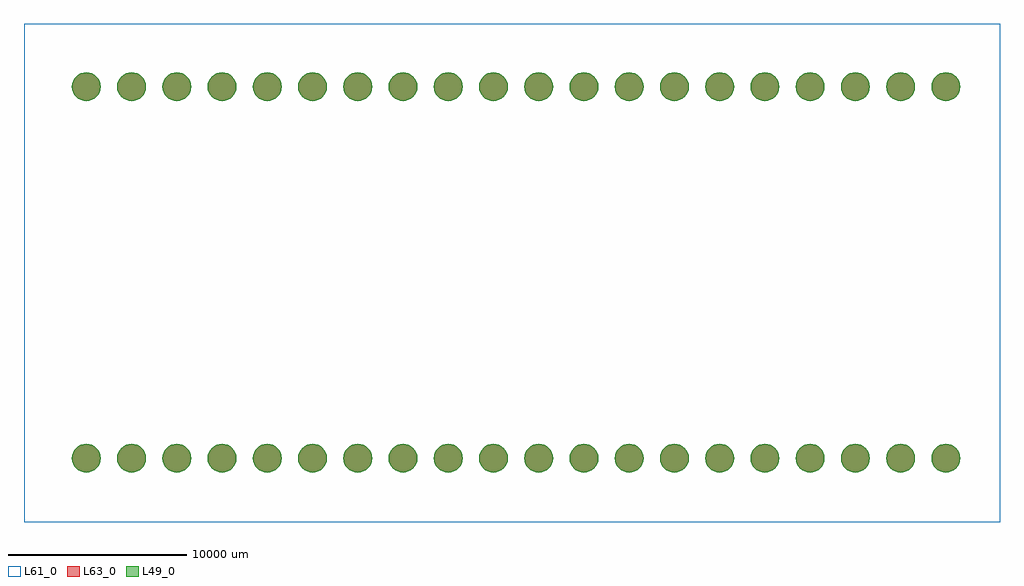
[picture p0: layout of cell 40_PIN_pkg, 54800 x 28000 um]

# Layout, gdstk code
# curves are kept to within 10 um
import gdstk
lib = gdstk.Library(unit=1e-6, precision=1e-09)
def R(c, l, rs):  # rectangles x0, y0, x1, y1
    for r in rs: c.add(gdstk.rectangle(r[:2], r[2:], *l))
def P(c, l, *ps):  # polygons
    for p in ps: c.add(gdstk.Polygon(p, *l))
L49_0 = (49, 0)
L61_0 = (61, 0)
L63_0 = (63, 0)

header_pin_round_1 = lib.new_cell('Header_Pin_Round_1')
P(header_pin_round_1, L49_0, [(806,0),(791,157),(745,308),(670,448),(570,570),(448,670),(308,745),(157,791),(0,806),(-157,791),(-308,745),(-448,670),(-570,570),(-670,448),(-745,308),(-791,157),(-806,0),(-791,-157),(-745,-308),(-670,-448),(-570,-570),(-448,-670),(-308,-745),(-157,-791),(0,-806),(157,-791),(308,-745),(448,-670),(570,-570),(670,-448),(745,-308),(791,-157)])
P(header_pin_round_1, L63_0, [(316,0),(292,121),(223,223),(121,292),(0,316),(-121,292),(-223,223),(-292,121),(-316,0),(-292,-121),(-223,-223),(-121,-292),(0,-316),(121,-292),(223,-223),(292,-121)],
  [(806,0),(791,157),(745,308),(670,448),(570,570),(448,670),(308,745),(157,791),(0,806),(-157,791),(-308,745),(-448,670),(-570,570),(-670,448),(-745,308),(-791,157),(-806,0),(-791,-157),(-745,-308),(-670,-448),(-570,-570),(-448,-670),(-308,-745),(-157,-791),(0,-806),(157,-791),(308,-745),(448,-670),(570,-570),(670,-448),(745,-308),(791,-157)])

c_40_pin_pkg = lib.new_cell('40_PIN_pkg')
R(c_40_pin_pkg, L61_0, [(-3400,-3400,51400,24600), (-2100,-1700,50300,22900)])
c_40_pin_pkg.add(gdstk.Reference(header_pin_round_1, (100,200)))
c_40_pin_pkg.add(gdstk.Reference(header_pin_round_1, (2640,200)))
c_40_pin_pkg.add(gdstk.Reference(header_pin_round_1, (5180,200)))
c_40_pin_pkg.add(gdstk.Reference(header_pin_round_1, (7720,200)))
c_40_pin_pkg.add(gdstk.Reference(header_pin_round_1, (10260,200)))
c_40_pin_pkg.add(gdstk.Reference(header_pin_round_1, (12800,200)))
c_40_pin_pkg.add(gdstk.Reference(header_pin_round_1, (15340,200)))
c_40_pin_pkg.add(gdstk.Reference(header_pin_round_1, (17880,200)))
c_40_pin_pkg.add(gdstk.Reference(header_pin_round_1, (20420,200)))
c_40_pin_pkg.add(gdstk.Reference(header_pin_round_1, (22960,200)))
c_40_pin_pkg.add(gdstk.Reference(header_pin_round_1, (25500,200)))
c_40_pin_pkg.add(gdstk.Reference(header_pin_round_1, (28040,200)))
c_40_pin_pkg.add(gdstk.Reference(header_pin_round_1, (30580,200)))
c_40_pin_pkg.add(gdstk.Reference(header_pin_round_1, (33120,200)))
c_40_pin_pkg.add(gdstk.Reference(header_pin_round_1, (35660,200)))
c_40_pin_pkg.add(gdstk.Reference(header_pin_round_1, (38200,200)))
c_40_pin_pkg.add(gdstk.Reference(header_pin_round_1, (40740,200)))
c_40_pin_pkg.add(gdstk.Reference(header_pin_round_1, (43280,200)))
c_40_pin_pkg.add(gdstk.Reference(header_pin_round_1, (45820,200)))
c_40_pin_pkg.add(gdstk.Reference(header_pin_round_1, (48360,200)))
c_40_pin_pkg.add(gdstk.Reference(header_pin_round_1, (48360,21060)))
c_40_pin_pkg.add(gdstk.Reference(header_pin_round_1, (45820,21060)))
c_40_pin_pkg.add(gdstk.Reference(header_pin_round_1, (43280,21060)))
c_40_pin_pkg.add(gdstk.Reference(header_pin_round_1, (40740,21060)))
c_40_pin_pkg.add(gdstk.Reference(header_pin_round_1, (38200,21060)))
c_40_pin_pkg.add(gdstk.Reference(header_pin_round_1, (35660,21060)))
c_40_pin_pkg.add(gdstk.Reference(header_pin_round_1, (33120,21060)))
c_40_pin_pkg.add(gdstk.Reference(header_pin_round_1, (30580,21060)))
c_40_pin_pkg.add(gdstk.Reference(header_pin_round_1, (28040,21060)))
c_40_pin_pkg.add(gdstk.Reference(header_pin_round_1, (25500,21060)))
c_40_pin_pkg.add(gdstk.Reference(header_pin_round_1, (22960,21060)))
c_40_pin_pkg.add(gdstk.Reference(header_pin_round_1, (20420,21060)))
c_40_pin_pkg.add(gdstk.Reference(header_pin_round_1, (17880,21060)))
c_40_pin_pkg.add(gdstk.Reference(header_pin_round_1, (15340,21060)))
c_40_pin_pkg.add(gdstk.Reference(header_pin_round_1, (12800,21060)))
c_40_pin_pkg.add(gdstk.Reference(header_pin_round_1, (10260,21060)))
c_40_pin_pkg.add(gdstk.Reference(header_pin_round_1, (7720,21060)))
c_40_pin_pkg.add(gdstk.Reference(header_pin_round_1, (5180,21060)))
c_40_pin_pkg.add(gdstk.Reference(header_pin_round_1, (2640,21060)))
c_40_pin_pkg.add(gdstk.Reference(header_pin_round_1, (100,21060)))

lib.write_gds('40_PIN_pkg.gds')
